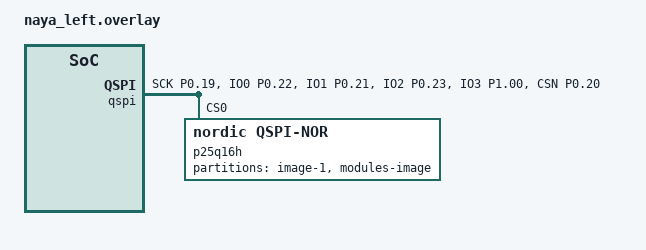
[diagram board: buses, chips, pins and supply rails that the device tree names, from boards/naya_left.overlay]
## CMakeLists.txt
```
cmake_minimum_required(VERSION 3.20.0)

find_package(Zephyr)
project(my_zephyr_app)

target_sources(app PRIVATE src/main.c)
zephyr_library_sources(src/spi_flash.c)
```

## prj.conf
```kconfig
CONFIG_GPIO=y
CONFIG_SERIAL=y
CONFIG_UART_CONSOLE=y

CONFIG_BOOTLOADER_MCUBOOT=y
# CONFIG_MCUBOOT_SIGNATURE_KEY_FILE="bootloader/mcuboot/mhn_pub.pem"
# CONFIG_MCUBOOT_ENCRYPTION_KEY_FILE="bootloader/mcuboot/enc-rsa2048-pub.pem"


CONFIG_BUILD_OUTPUT_UF2=y
# CONFIG_CLOCK_CONTROL_NRF_K32SRC_RC=y
# CONFIG_CLOCK_CONTROL_NRF_K32SRC_500PPM=y
# CONFIG_FLASH_LOAD_OFFSET=0x0
```

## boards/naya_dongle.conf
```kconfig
CONFIG_USB_DEVICE_PRODUCT="Dongle"
CONFIG_USB_DEVICE_MANUFACTURER="Naya"
CONFIG_USB_DEVICE_SN="0123456789ABCDEF"

#Registered for naya dongle
#       300 in decimal  
CONFIG_USB_DEVICE_PID=0x012c               
CONFIG_USB_DEVICE_VID=0x37d1 

CONFIG_NRFX_QSPI=n
```

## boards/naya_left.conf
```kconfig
CONFIG_USB_DEVICE_PRODUCT="Left Keyboard"
CONFIG_USB_DEVICE_MANUFACTURER="Naya"
CONFIG_USB_DEVICE_SN="0123456789ABCDEF"

#Registered for naya left keyboard product
#       100 in decimal 
CONFIG_USB_DEVICE_PID=0x0064            
CONFIG_USB_DEVICE_VID=0x37d1
```

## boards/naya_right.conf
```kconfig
CONFIG_USB_DEVICE_PRODUCT="Right Keyboard"
CONFIG_USB_DEVICE_MANUFACTURER="Naya"
CONFIG_USB_DEVICE_SN="0123456789ABCDEF"

#Registered for naya right keyboard product
#       200 in decimal 
CONFIG_USB_DEVICE_PID=0x00c8            
CONFIG_USB_DEVICE_VID=0x37d1
```

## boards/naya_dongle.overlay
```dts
&flash0 {
	/*
	 *  flash layout for naya 
	 *
	 * 0x00000000 SoftDevice s140 v7    (192 kB)
	 * 0x00030000 mcuboot partition     (80 kB)
 	 * 0x00044000 image-0 partition     (648 kB)
	 * 0x00044000 image-0 partition     (648 kB)
	 * 0x000e6000 scratch partition     (24 kB)
	 * 0x000ec000 Storage partition     (32 kB)
	 * 0x000f4000 DFU boot partition    (48 kB)
	 */

	partitions {
		compatible = "fixed-partitions";
		#address-cells = <1>;
		#size-cells = <1>;

		softdevice_partition: partition@0 {		
			label = "SoftDevice";
			// read-only;
			reg = <0x00000000 0x00030000>;
		};
		
		mcuboot_partition: partition@30000 {
			label = "mcuboot";
			reg = <0x00030000 0x00014000>;
		};
		
		slot0_partition: partition@44000 {
			label = "image-0";
			reg = <0x00044000 0x00051000>;
		};

		slot1_partition: partition@95000 {
			label = "image-1";
			reg = <0x00095000 0x00051000>;
		};
		
		scratch_partition: partition@e6000 {
			label = "image-scratch";
			reg = <0x000e6000 0x00006000>;
		};
		
        /*
         * Storage partition will be used by FCB/LittleFS/NVS
         * if enabled.
         */
		storage_partition: partition@ec000 {
            label = "storage";
            reg = <0x000ec000 0x00008000>;
        };

		dfu_partition: partition@f4000 {
			label = "USB-DFU";
			read-only;
			reg = <0x000f4000 0x0000c000>;
		};
	};
};



/ {
	chosen {
		zephyr,code-partition = &slot0_partition;
	};
};
```

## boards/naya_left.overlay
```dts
&qspi {
	status = "okay";
	pinctrl-0 = <&qspi_default>;
	pinctrl-1 = <&qspi_sleep>;
	pinctrl-names = "default", "sleep";
	p25q16h: p25q16h@0 {
		compatible = "nordic,qspi-nor";
		reg = <0>;
		sck-frequency = <40000000>;       /* Retained sck-frequency */
        size = <0x2000000>;                /* Corrected size to 4MB */
		quad-enable-requirements = "S2B1v1";
		jedec-id = [ef 40 16];
		writeoc = "pp4o";
        readoc = "read4io";

		partitions {
			compatible = "fixed-partitions";
			#address-cells = <1>;
			#size-cells = <1>;


			slot1_partition: partition@0 {
				label = "image-1";
				reg = <0x00000000 0x000a2000>;	 /* 648K Partition for secondary partition*/
			};

			mfw_partition: partition@a2000 {
				label = "modules-image";
				reg = <0x000a2000 0x00100000>;  /* 1MB Partition for modules firmware */
			};

		};
	};
};



&pinctrl {
	qspi_default: qspi_default {
		group1 {
		 psels = <NRF_PSEL(QSPI_SCK, 0, 19)>,
		  <NRF_PSEL(QSPI_IO0, 0, 22)>,
		  <NRF_PSEL(QSPI_IO1, 0, 21)>,
		  <NRF_PSEL(QSPI_IO2, 0, 23)>,
		  <NRF_PSEL(QSPI_IO3, 1, 00 )>,
		  <NRF_PSEL(QSPI_CSN, 0, 20)>;
		};
	   };
	  
	   qspi_sleep: qspi_sleep {
		group1 {
		 psels = <NRF_PSEL(QSPI_SCK, 0, 19)>,
		  <NRF_PSEL(QSPI_IO0, 0, 22)>,
		  <NRF_PSEL(QSPI_IO1, 0, 21)>,
		  <NRF_PSEL(QSPI_IO2, 0, 23)>,
		  <NRF_PSEL(QSPI_IO3, 1, 00)>;
		 low-power-enable;
		};
		group2 {
		 psels = <NRF_PSEL(QSPI_CSN, 0, 20)>;
		 low-power-enable;
		 bias-pull-up;
		};
	   };	  
};



&flash0 {
	/*
	 *  flash layout for naya 
	 *
	 * 0x00000000 SoftDevice s140 v7    (192 kB)
	 * 0x00030000 mcuboot partition     (80 kB)
 	 * 0x00044000 image-0 partition     (648 kB)
	 * 0x000e6000 scratch partition     (24 kB)
	 * 0x000ec000 Storage partition     (32 kB)
	 * 0x000f4000 DFU boot partition    (48 kB)
	 */

	partitions {
		compatible = "fixed-partitions";
		#address-cells = <1>;
		#size-cells = <1>;

		softdevice_partition: partition@0 {		
			label = "SoftDevice";
			// read-only;
			reg = <0x00000000 0x00030000>;
		};
		
		mcuboot_partition: partition@30000 {
			label = "mcuboot";
			reg = <0x00030000 0x00014000>;
		};
		
		slot0_partition: partition@44000 {
			label = "image-0";
			reg = <0x00044000 0x000A2000>;
		};
		
		scratch_partition: partition@e6000 {
			label = "image-scratch";
			reg = <0x000e6000 0x00006000>;
		};
		
        /*
         * Storage partition will be used by FCB/LittleFS/NVS
         * if enabled.
         */
		storage_partition: partition@ec000 {
            label = "storage";
            reg = <0x000ec000 0x00008000>;
        };

		dfu_partition: partition@f4000 {
			label = "USB-DFU";
			read-only;
			reg = <0x000f4000 0x0000c000>;
		};
	};
};




/ {
	chosen {
		zephyr,code-partition = &slot0_partition;
	};
};
```

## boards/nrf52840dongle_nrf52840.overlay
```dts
/*
 * Copyright (c) 2020 Nordic Semiconductor ASA
 *
 * SPDX-License-Identifier: Apache-2.0
 */

 &flash0 {
	/*
	 *  flash layout for naya 
	 *
	 * 0x00000000 SoftDevice s140 v7    (156 kB)
	 * 0x00026000 mcuboot partition     (72 kB)
 	 * 0x00038000 image-0 partition     (348 kB)
 	 * 0x0008f000 image-1 partition     (348 kB)
	 * 0x000e6000 scratch partition     (24 kB)
	 * 0x000ec000 Storage partition     (32 kB)
	 * 0x000f4000 DFU boot partition    (48 kB)
	 */

	partitions {
		compatible = "fixed-partitions";
		#address-cells = <1>;
		#size-cells = <1>;

		reserved_partition_0: partition@0 {
			label = "SoftDevice";
			read-only;
			reg = <0x00000000 0x00026000>;
		};
		
		mcuboot_partition: partition@26000 {
			label = "mcuboot";
			reg = <0x00026000 0x00012000>;
		};
		

	};
};


/ {
	chosen {
		zephyr,code-partition = &mcuboot_partition;
	};
};


/{

	leds {
		compatible = "gpio-leds";
		led0: led_0 {
			gpios = <&gpio0 28 GPIO_ACTIVE_LOW>;
			label = "Red LED";
		};
		led1: led_1 {
			gpios = <&gpio0 03 GPIO_ACTIVE_LOW>;
			label = "Green LED";
		};
		led2: led_2 {
			gpios = <&gpio0 30 GPIO_ACTIVE_LOW>;
			label = "Blue LED";
		};
	};

};

&reg1 {
	regulator-initial-mode = <NRF5X_REG_MODE_LDO>;
	// status = "okay";
};

&reg0 {

	status = "disabled";
};

// &reg0 {
// 	regulator-initial-mode = <NRF5X_REG_MODE_LDO>;
// 	status = "okay";
// };


&uicr {
	gpio-as-nreset;
};
```

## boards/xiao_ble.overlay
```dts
/*
 * Copyright (c) 2020 Nordic Semiconductor ASA
 *
 * SPDX-License-Identifier: Apache-2.0
 */

 &flash0 {
	/*
	 *  flash layout for naya 
	 *
	 * 0x00000000 SoftDevice s140 v7    (156 kB)
	 * 0x00026000 mcuboot partition     (72 kB)
 	 * 0x00038000 image-0 partition     (348 kB)
 	 * 0x0008f000 image-1 partition     (348 kB)
	 * 0x000e6000 scratch partition     (24 kB)
	 * 0x000ec000 Storage partition     (32 kB)
	 * 0x000f4000 DFU boot partition    (48 kB)
	 */

	partitions {
		compatible = "fixed-partitions";
		#address-cells = <1>;
		#size-cells = <1>;

		reserved_partition_0: partition@0 {
			label = "SoftDevice";
			read-only;
			reg = <0x00000000 0x00026000>;
		};
		
		mcuboot_partition: partition@26000 {
			label = "mcuboot";
			reg = <0x00027000 0x00012000>;
		};
		
		slot0_partition: partition@38000 {
			label = "image-0";
			reg = <0x00038000 0x00057000>;
		};
		
		slot1_partition: partition@8f000 {
			label = "image-1";
			reg = <0x0008f000 0x00057000>;
		};

		scratch_partition: partition@e6000 {
			label = "image-scratch";
			reg = <0x000e6000 0x00006000>;
		};
		
        /*
         * Storage partition will be used by FCB/LittleFS/NVS
         * if enabled.
         */
		storage_partition: partition@ec000 {
            label = "storage";
            reg = <0x000ec000 0x00008000>;
        };

		boot_partition: partition@f4000 {
			label = "UF2";
			read-only;
			reg = <0x000f4000 0x0000c000>;
		};
	};
};


/ {
	chosen {
		zephyr,code-partition = &reserved_partition_0;
	};
};


/{

	leds {
		compatible = "gpio-leds";
		led0: led_0 {
			gpios = <&gpio0 28 GPIO_ACTIVE_LOW>;
			label = "Red LED";
		};
		led1: led_1 {
			gpios = <&gpio0 03 GPIO_ACTIVE_LOW>;
			label = "Green LED";
		};
		led2: led_2 {
			gpios = <&gpio0 30 GPIO_ACTIVE_LOW>;
			label = "Blue LED";
		};
	};

};

&reg0 {
	// regulator-initial-mode = <NRF5X_REG_MODE_DCDC>;
	status = "okay";
};


&reg1 {
	regulator-initial-mode = <NRF5X_REG_MODE_LDO>;
	status = "okay";
};


&uicr {
	nfct-pins-as-gpios;
	gpio-as-nreset;
	// regout0=<0x05>;
	status = "okay";
};



// &dcdc_regulator {
//     status = "okay";
//     regulator-name = "dcdc-hv";
//     regulator-always-on;
//     regulator-min-microvolt = <3300000>;
//     regulator-max-microvolt = <3300000>;
// };

// nrf_power: power@40000000 {
//     compatible = "nordic,nrf-power";
//     reg = <0x40000000 0x1000>;
// 	status = "okay";
//     dcdcen = <1>;
//     dcdcenhv = <1>;
// };

// &nrf_power {
//     status = "okay";
//     dcdcen = <1>;
//     dcdcenhv = <1>;
// };
```

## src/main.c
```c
/*
 * Copyright (c) 2016 Intel Corporation
 *
 * SPDX-License-Identifier: Apache-2.0
 */

#include <stdio.h>
#include <zephyr/kernel.h>
#include <zephyr/drivers/gpio.h>



/* 1000 msec = 1 sec */
#define SLEEP_TIME_MS   500

/* The devicetree node identifier for the "led0" alias. */
#define LED0_NODE DT_ALIAS(led0)
#define LED1_NODE DT_ALIAS(led1)
#define LED2_NODE DT_ALIAS(led2)

/*
 * A build error on this line means your board is unsupported.
 * See the sample documentation for information on how to fix this.
 */
static const struct gpio_dt_spec led = GPIO_DT_SPEC_GET(LED2_NODE, gpios);


void reset_to_uf2(void) {
  NRF_POWER->GPREGRET = 0x48; // 0xA8 OTA, 0x4e Serial
  NVIC_SystemReset();         // or sd_nvic_SystemReset();
}


int main(void)
{
	int ret;
	bool led_state = true;

	printf("Start of Program : LED Green Blinky \n");


	if (!gpio_is_ready_dt(&led))  return 0;


	ret = gpio_pin_configure_dt(&led, GPIO_OUTPUT_ACTIVE);
	if (ret < 0) return 0;


	printf("Initializaion complete\n");

	uint8_t counter=0;


	while (1) {
		ret = gpio_pin_toggle_dt(&led);
		if (ret < 0) return 0;
		
		led_state = !led_state;
		printf("LED state: %s\n", led_state ? "ON" : "OFF");
		k_msleep(SLEEP_TIME_MS);

		if( counter > 10) reset_to_uf2();
		else counter++;
	}
	return 0;
}
```

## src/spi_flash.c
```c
#include "spi_flash.h"
#include <zephyr/logging/log.h>
#include <zephyr/devicetree.h>
#include <zephyr/device.h>
// #include <zephyr/zephyr.h>
#include <zephyr/drivers/flash.h>
#include <zephyr/fs/fs.h>
#include <zephyr/fs/littlefs.h>
#include <zephyr/storage/flash_map.h>
#include <string.h>
#include <stdio.h>
// #include "../src/naya_connect/naya_con_init.h"
#include <zephyr/drivers/spi.h>
#include <zephyr/kernel.h>

LOG_MODULE_REGISTER(spi_flash, LOG_LEVEL_DEBUG);

// Define the flash area ID using the partition label
#define LAYOUT_PARTITION_ID FIXED_PARTITION_ID(layout_partition)
#define LOG_PARTITION_ID FIXED_PARTITION_ID(log_partition)

#define M_FIRMWARE_PARTITION_ID FIXED_PARTITION_ID(slot2_partition)

// Partition sizes
#define LAYOUT_PARTITION_SIZE (0x10000)       // 1MB
#define LOG_PARTITION_SIZE (0x10000)        // 0.5 MB

#define M_FIRMWARE_PARTITION_SIZE (1 * 1024 * 1024) // 1.5 MB
#define FLASH_PARTITION_SIZE                                                                       \
    (LAYOUT_PARTITION_SIZE + LOG_PARTITION_SIZE + RES_PARTITION_SIZE +                             \
     M_FIRMWARE_PARTITION_SIZE) // 4MB

#define BLOCK_SIZE 4096

#define LAYOUT_PARTITION_BLOCK_COUNT (LAYOUT_PARTITION_SIZE / BLOCK_SIZE)         // 256
#define LOG_PARTITION_BLOCK_COUNT (LOG_PARTITION_SIZE / BLOCK_SIZE)               // 128

#define M_FIRMWARE_PARTITION_BLOCK_COUNT (M_FIRMWARE_PARTITION_SIZE / BLOCK_SIZE) // 384

#define BLOCK_COUNT (FLASH_PARTITION_SIZE / BLOCK_SIZE) // 1024

// Global flash area pointers to maintain a single open flash area
const struct flash_area *fa_layout_partition;
const struct flash_area *fa_log_partition;

const struct flash_area *fa_m_firmware_partition;

// SPI flash status variables for each partition
enum spi_flash_status layout_partition_status = SPI_FLASH_NOT_DETECTED;
enum spi_flash_status log_partition_status = SPI_FLASH_NOT_DETECTED;

enum spi_flash_status m_firmware_partition_status = SPI_FLASH_NOT_DETECTED;

// Mutex for synchronizing SPI flash access
struct k_mutex spi_flash_mutex;

// Forward declarations of custom flash operations
int layout_flash_read(const struct lfs_config *c, lfs_block_t block, lfs_off_t offset, void *buffer,
                      lfs_size_t size);
int layout_flash_prog(const struct lfs_config *c, lfs_block_t block, lfs_off_t offset,
                      const void *buffer, lfs_size_t size);
int layout_flash_erase(const struct lfs_config *c, lfs_block_t block);
int custom_flash_sync(const struct lfs_config *c);

// Custom flash operations for log partition
int log_flash_read(const struct lfs_config *c, lfs_block_t block, lfs_off_t offset, void *buffer,
                   lfs_size_t size);
int log_flash_prog(const struct lfs_config *c, lfs_block_t block, lfs_off_t offset,
                   const void *buffer, lfs_size_t size);
int log_flash_erase(const struct lfs_config *c, lfs_block_t block);


// Custom flash operations for m_firmware partition
int m_firmware_flash_read(const struct lfs_config *c, lfs_block_t block, lfs_off_t offset,
                          void *buffer, lfs_size_t size);
int m_firmware_flash_prog(const struct lfs_config *c, lfs_block_t block, lfs_off_t offset,
                          const void *buffer, lfs_size_t size);
int m_firmware_flash_erase(const struct lfs_config *c, lfs_block_t block);

// Updated LittleFS configurations for each partition
const struct lfs_config layout_partition_cfg = {
    .read = layout_flash_read,
    .prog = layout_flash_prog,
    .erase = layout_flash_erase,
    .sync = custom_flash_sync,
    .read_size = 256,
    .prog_size = 256,
    .block_size = BLOCK_SIZE,
    .block_count = LAYOUT_PARTITION_BLOCK_COUNT,
    .cache_size = 256,
    .lookahead_size = 256,
    .block_cycles = 500,
};

const struct lfs_config log_partition_cfg = {
    .read = log_flash_read,
    .prog = log_flash_prog,
    .erase = log_flash_erase,
    .sync = custom_flash_sync,
    .read_size = 256,
    .prog_size = 256,
    .block_size = BLOCK_SIZE,
    .block_count = LOG_PARTITION_BLOCK_COUNT,
    .cache_size = 256,
    .lookahead_size = 256,
    .block_cycles = 500,
};



const struct lfs_config m_firmware_partition_cfg = {
    .read = m_firmware_flash_read,
    .prog = m_firmware_flash_prog,
    .erase = m_firmware_flash_erase,
    .sync = custom_flash_sync,
    .read_size = 256,
    .prog_size = 256,
    .block_size = BLOCK_SIZE,
    .block_count = M_FIRMWARE_PARTITION_BLOCK_COUNT,
    .cache_size = 256,
    .lookahead_size = 256,
    .block_cycles = 500,
};

// Declare lfs_t objects to hold the LittleFS state
struct lfs layout_littlefs;
struct lfs log_littlefs;

struct lfs m_firmware_littlefs;

// Adjust the mount point configuration to use your custom lfs_config
static struct fs_mount_t layout_mount_point = {
    .type = FS_LITTLEFS,
    .mnt_point = "/lyt",
    .fs_data = (void *)&layout_partition_cfg,
    .storage_dev = NULL,
};

static struct fs_mount_t log_mount_point = {
    .type = FS_LITTLEFS,
    .mnt_point = "/log",
    .fs_data = (void *)&log_partition_cfg,
    .storage_dev = NULL,
};


static struct fs_mount_t m_firmware_mount_point = {
    .type = FS_LITTLEFS,
    .mnt_point = "/mfmw",
    .fs_data = (void *)&m_firmware_partition_cfg,
    .storage_dev = NULL,
};

/**
 * @brief Reads data from the layout partition flash.
 *
 * This function reads data from the specified block and offset within the layout partition.
 *
 * @param c      The lfs_config structure.
 * @param block  The block number to read from.
 * @param offset The offset within the block.
 * @param buffer The buffer to store the read data.
 * @param size   The number of bytes to read.
 *
 * @return 0 on success, or a negative error code on failure.
 */
int layout_flash_read(const struct lfs_config *c, lfs_block_t block, lfs_off_t offset, void *buffer,
                      lfs_size_t size) {
    int rc;

    // Lock the mutex to prevent concurrent access
    k_mutex_lock(&spi_flash_mutex, K_FOREVER);

    rc = flash_area_read(fa_layout_partition, (block * c->block_size) + offset, buffer, size);

    // Unlock the mutex
    k_mutex_unlock(&spi_flash_mutex);

    if (rc < 0) {
        LOG_ERR("Failed to read block %d at offset %d: %d", block, offset, rc);
        printf( "Failed to read block %d at offset %d: %d\n\r", block, offset, rc);
    }

    return rc;
}

/**
 * @brief Programs data to the layout partition flash.
 *
 * This function writes data to the specified block and offset within the layout partition.
 *
 * @param c      The lfs_config structure.
 * @param block  The block number to write to.
 * @param offset The offset within the block.
 * @param buffer The data buffer to write.
 * @param size   The number of bytes to write.
 *
 * @return 0 on success, or a negative error code on failure.
 */
int layout_flash_prog(const struct lfs_config *c, lfs_block_t block, lfs_off_t offset,
                      const void *buffer, lfs_size_t size) {
    int rc;

    // Lock the mutex to prevent concurrent access
    k_mutex_lock(&spi_flash_mutex, K_FOREVER);

    rc = flash_area_write(fa_layout_partition, (block * c->block_size) + offset, buffer, size);

    // Unlock the mutex
    k_mutex_unlock(&spi_flash_mutex);

    if (rc < 0) {
        LOG_ERR("Failed to program block %d at offset %d: %d", block, offset, rc);
        printf("Failed to program block %d at offset %d: %d\n\r", block, offset, rc);
    }

    return rc;
}

/**
 * @brief Erases a block in the layout partition flash.
 *
 * @param c     The lfs_config structure.
 * @param block The block number to erase.
 *
 * @return 0 on success, or a negative error code on failure.
 */
int layout_flash_erase(const struct lfs_config *c, lfs_block_t block) {
    int rc;
    uint32_t offset = block * c->block_size;
    uint32_t size = c->block_size;

    // Lock the mutex to prevent concurrent access
    k_mutex_lock(&spi_flash_mutex, K_FOREVER);

    rc = flash_area_erase(fa_layout_partition, offset, size);

    // Unlock the mutex
    k_mutex_unlock(&spi_flash_mutex);

    if (rc < 0) {
        LOG_ERR("Failed to erase block %d: %d", block, rc);
        printf( "Failed to erase block %d: %d\n\r", block,rc);
    }

    return rc;
}

/**
 * @brief Synchronizes the flash (no operation needed for most flash devices).
 *
 * @param c The lfs_config structure.
 *
 * @return 0 on success.
 */
int custom_flash_sync(const struct lfs_config *c) {
    // No sync operation needed for most flash devices
    return 0;
}

// Implementations for log partition flash operations
int log_flash_read(const struct lfs_config *c, lfs_block_t block, lfs_off_t offset, void *buffer,
                   lfs_size_t size) {
    int rc;

    k_mutex_lock(&spi_flash_mutex, K_FOREVER);
    rc = flash_area_read(fa_log_partition, (block * c->block_size) + offset, buffer, size);
    k_mutex_unlock(&spi_flash_mutex);

    if (rc < 0) {
        LOG_ERR("Log: Failed to read block %d at offset %d: %d", block, offset, rc);
    }

    return rc;
}

int log_flash_prog(const struct lfs_config *c, lfs_block_t block, lfs_off_t offset,
                   const void *buffer, lfs_size_t size) {
    int rc;

    k_mutex_lock(&spi_flash_mutex, K_FOREVER);
    rc = flash_area_write(fa_log_partition, (block * c->block_size) + offset, buffer, size);
    k_mutex_unlock(&spi_flash_mutex);

    if (rc < 0) {
        LOG_ERR("Log: Failed to program block %d at offset %d: %d", block, offset, rc);
    }

    return rc;
}

int log_flash_erase(const struct lfs_config *c, lfs_block_t block) {
    int rc;
    uint32_t offset = block * c->block_size;
    uint32_t size = c->block_size;

    k_mutex_lock(&spi_flash_mutex, K_FOREVER);
    rc = flash_area_erase(fa_log_partition, offset, size);
    k_mutex_unlock(&spi_flash_mutex);

    if (rc < 0) {
        LOG_ERR("Log: Failed to erase block %d: %d", block, rc);
    }

    return rc;
}




// Implementations for m_firmware partition flash operations
int m_firmware_flash_read(const struct lfs_config *c, lfs_block_t block, lfs_off_t offset,
                          void *buffer, lfs_size_t size) {
    int rc;

    k_mutex_lock(&spi_flash_mutex, K_FOREVER);
    rc = flash_area_read(fa_m_firmware_partition, (block * c->block_size) + offset, buffer, size);
    k_mutex_unlock(&spi_flash_mutex);

    if (rc < 0) {
        LOG_ERR("M_Firmware: Failed to read block %d at offset %d: %d", block, offset, rc);
    }

    return rc;
}

int m_firmware_flash_prog(const struct lfs_config *c, lfs_block_t block, lfs_off_t offset,
                          const void *buffer, lfs_size_t size) {
    int rc;

    k_mutex_lock(&spi_flash_mutex, K_FOREVER);
    rc = flash_area_write(fa_m_firmware_partition, (block * c->block_size) + offset, buffer, size);
    k_mutex_unlock(&spi_flash_mutex);

    if (rc < 0) {
        LOG_ERR("M_Firmware: Failed to program block %d at offset %d: %d", block, offset, rc);
    }

    return rc;
}

int m_firmware_flash_erase(const struct lfs_config *c, lfs_block_t block) {
    int rc;
    uint32_t offset = block * c->block_size;
    uint32_t size = c->block_size;

    k_mutex_lock(&spi_flash_mutex, K_FOREVER);
    rc = flash_area_erase(fa_m_firmware_partition, offset, size);
    k_mutex_unlock(&spi_flash_mutex);

    if (rc < 0) {
        LOG_ERR("M_Firmware: Failed to erase block %d: %d", block, rc);
    }

    return rc;
}

/**
 * @brief Initializes the SPI flash and mounts partitions.
 *
 * This function initializes the SPI flash, opens flash areas for each partition,
 * and mounts the partitions. It also handles formatting if partitions are not formatted.
 *
 * @return 0 on success, or a negative error code on failure.
 */
int spiflash_init(void) {
    int rc;

    // Initialize the SPI flash mutex
    k_mutex_init(&spi_flash_mutex);

    LOG_INF("Initializing SPI Flash...");
    printf( "Initializing SPI Flash...\n\r");

    // Open flash areas for each partition
    rc = flash_area_open(LAYOUT_PARTITION_ID, &fa_layout_partition);
    if (rc < 0) {
        LOG_ERR("Failed to open flash area for layout partition: %d", rc);
        printf("Failed to open flash area for layout partition: %d\n\r", rc);
        return rc;
    }
    layout_partition_status = SPI_FLASH_DETECTED;

    rc = flash_area_open(LOG_PARTITION_ID, &fa_log_partition);
    if (rc < 0) {
        LOG_ERR("Failed to open flash area for log partition: %d", rc);
        printf("Failed to open flash area for log partition: %d\n\r", rc);
        return rc;
    }
    log_partition_status = SPI_FLASH_DETECTED;


    rc = flash_area_open(M_FIRMWARE_PARTITION_ID, &fa_m_firmware_partition);
    if (rc < 0) {
        LOG_ERR("Failed to open flash area for m_firmware partition: %d", rc);
        printf("Failed to open flash area for m_firmware partition: %d\n\r", rc);
        return rc;
    }
    m_firmware_partition_status = SPI_FLASH_DETECTED;

    // Mount the layout partition
    LOG_INF("Attempting to mount Layout_partition...");
    printf( "Attempting to mount Layout_partition...\n\r");
    rc = lfs_mount(&layout_littlefs, &layout_partition_cfg);
    if (rc == 0) {
        LOG_INF("Layout_partition mounted at %s", layout_mount_point.mnt_point);
        printf("Layout_partition mounted at %s\n\r",
                                       layout_mount_point.mnt_point);
        layout_partition_status = SPI_FLASH_MOUNTED;
    } else if (rc == LFS_ERR_CORRUPT) { // LittleFS-specific error code for unformatted partition
        LOG_INF("Formatting Layout_partition...");
        printf( "Formatting Layout_partition...\n\r");

        rc = lfs_format(&layout_littlefs, &layout_partition_cfg);
        if (rc == 0) {
            LOG_INF("Layout_partition formatted successfully, retrying mount...");
            printf(
                                 "Layout_partition formatted successfully, retrying mount...\n\r");
            layout_partition_status = SPI_FLASH_FORMATTED;

            rc = lfs_mount(&layout_littlefs, &layout_partition_cfg);
            if (rc == 0) {
                LOG_INF("Layout_partition mounted successfully after format");
                printf("Layout_partition mounted successfully after format\n\r");
                layout_partition_status = SPI_FLASH_MOUNTED;
            } else {
                LOG_ERR("Failed to mount Layout_partition after format: %d", rc);
                printf("Failed to mount Layout_partition after format: %d\n\r", rc);
            }
        } else {
            LOG_ERR("Failed to format Layout_partition: %d", rc);
            printf("Failed to format Layout_partition: %d\n\r", rc);
        }
    } else {
        LOG_ERR("Failed to mount Layout_partition: %d", rc);
        printf("Failed to mount Layout_partition: %d\n\r",
                                       rc);
    }

    // Similar code for mounting other partitions (log, res, m_firmware)
    // Mount the log partition
    LOG_INF("Attempting to mount Log_partition...");
    printf( "Attempting to mount Log_partition...\n\r");
    rc = lfs_mount(&log_littlefs, &log_partition_cfg);
    if (rc == 0) {
        LOG_INF("Log_partition mounted at %s", log_mount_point.mnt_point);
        printf("Log_partition mounted at %s\n\r",
                                       log_mount_point.mnt_point);
        log_partition_status = SPI_FLASH_MOUNTED;
    } else if (rc == LFS_ERR_CORRUPT) {
        LOG_INF("Formatting Log_partition...");
        printf( "Formatting Log_partition...\n\r");

        rc = lfs_format(&log_littlefs, &log_partition_cfg);
        if (rc == 0) {
            LOG_INF("Log_partition formatted successfully, retrying mount...");
            printf(
                                 "Log_partition formatted successfully, retrying mount...\n\r");
            log_partition_status = SPI_FLASH_FORMATTED;

            rc = lfs_mount(&log_littlefs, &log_partition_cfg);
            if (rc == 0) {
                LOG_INF("Log_partition mounted successfully after format");
                printf("Log_partition mounted successfully after format\n\r");
                log_partition_status = SPI_FLASH_MOUNTED;
            } else {
                LOG_ERR("Failed to mount Log_partition after format: %d", rc);
                printf("Failed to mount Log_partition after format: %d\n\r", rc);
            }
        } else {
            LOG_ERR("Failed to format Log_partition: %d", rc);
            printf( "Failed to format Log_partition: %d\n\r",
                                           rc);
        }
    } else {
        LOG_ERR("Failed to mount Log_partition: %d", rc);
        printf("Failed to mount Log_partition: %d\n\r", rc);
    }

   
    // Mount the m_firmware partition
    LOG_INF("Attempting to mount M_Firmware_partition...");
    printf( "Attempting to mount M_Firmware_partition...\n\r");
    rc = lfs_mount(&m_firmware_littlefs, &m_firmware_partition_cfg);
    if (rc == 0) {
        LOG_INF("M_Firmware_partition mounted at %s", m_firmware_mount_point.mnt_point);
        printf("M_Firmware_partition mounted at %s\n\r",
                                       m_firmware_mount_point.mnt_point);
        m_firmware_partition_status = SPI_FLASH_MOUNTED;
    } else if (rc == LFS_ERR_CORRUPT) {
        LOG_INF("Formatting M_Firmware_partition...");
        printf( "Formatting M_Firmware_partition...\n\r");

        rc = lfs_format(&m_firmware_littlefs, &m_firmware_partition_cfg);
        if (rc == 0) {
            LOG_INF("M_Firmware_partition formatted successfully, retrying mount...");
            printf("M_Firmware_partition formatted successfully, retrying mount...\n\r");
            m_firmware_partition_status = SPI_FLASH_FORMATTED;

            rc = lfs_mount(&m_firmware_littlefs, &m_firmware_partition_cfg);
            if (rc == 0) {
                LOG_INF("M_Firmware_partition mounted successfully after format");
                printf( "M_Firmware_partition mounted successfully after format\n\r");
                m_firmware_partition_status = SPI_FLASH_MOUNTED;
            } else {
                LOG_ERR("Failed to mount M_Firmware_partition after format: %d", rc);
                printf("Failed to mount M_Firmware_partition after format: %d\n\r",
                    rc);
            }
        } else {
            LOG_ERR("Failed to format M_Firmware_partition: %d", rc);
            printf("Failed to format M_Firmware_partition: %d\n\r", rc);
        }
    } else {
        LOG_ERR("Failed to mount M_Firmware_partition: %d", rc);
        printf("Failed to mount M_Firmware_partition: %d\n\r", rc);
    }

    return rc;
}
```

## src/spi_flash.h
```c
#pragma once

#include <zephyr/device.h>
#include <zephyr/drivers/flash.h>
#include <zephyr/storage/flash_map.h>
#include <lfs.h>
#include <zephyr/fs/fs.h>

// SPI flash status enums
enum spi_flash_status {
    SPI_FLASH_NOT_DETECTED,
    SPI_FLASH_DETECTED,
    SPI_FLASH_FORMATTED,
    SPI_FLASH_MOUNTED,
    SPI_FLASH_ERASED,
};

// Extern declarations for lfs_t objects for each partition
extern struct lfs layout_littlefs;
extern struct lfs log_littlefs;
extern struct lfs res_littlefs;
extern struct lfs m_firmware_littlefs;

// Extern declarations for spi_flash_status variables for each partition
extern enum spi_flash_status layout_partition_status;
extern enum spi_flash_status log_partition_status;
extern enum spi_flash_status res_partition_status;
extern enum spi_flash_status m_firmware_partition_status;

/**
 * @brief Initializes the SPI flash and mounts partitions.
 *
 * @return 0 on success, or a negative error code on failure.
 */
int spiflash_init(void);

/**
 * @brief Reads data from the SPI flash at a specific address.
 *
 * @param address The address to read from.
 * @param data    The buffer to store the read data.
 * @param len     The number of bytes to read.
 *
 * @return 0 on success, or a negative error code on failure.
 */
int spi_flash_read(uint32_t address, void *data, size_t len);

/**
 * @brief Writes data to the SPI flash at a specific address.
 *
 * @param address The address to write to.
 * @param data    The data to write.
 * @param len     The number of bytes to write.
 *
 * @return 0 on success, or a negative error code on failure.
 */
int spi_flash_write(uint32_t address, const void *data, size_t len);

/**
 * @brief Erases a section of the SPI flash.
 *
 * @param address The starting address to erase.
 * @param size    The size of the area to erase.
 *
 * @return 0 on success, or a negative error code on failure.
 */
int spi_flash_erase(uint32_t address, size_t size);

/**
 * @brief Sends a buffer over CDC UART.
 *
 * @param label  A label to prefix the buffer output.
 * @param buffer The buffer to send.
 * @param len    The length of the buffer.
 */
void send_buffer_cdc_uart(const char *label, const uint8_t *buffer, size_t len);

/* Declare the external mount configuration */
extern struct fs_mount_t lfs_qspi_mount;

/* Additional function declarations if needed */
// int create_and_write_files(void);

/*

#include "spi_flash.h"

void some_function(void) {
    if (layout_partition_status == SPI_FLASH_MOUNTED) {
        // Perform file operations using layout_littlefs
        lfs_file_t file;
        int rc = lfs_file_open(&layout_littlefs, &file, "myfile.txt", LFS_O_RDWR | LFS_O_CREAT);
        if (rc == 0) {
            // Write to the file
            const char *message = "Hello, World!";
            lfs_file_write(&layout_littlefs, &file, message, strlen(message));
            lfs_file_close(&layout_littlefs, &file);
        } else {
            // Handle error
            LOG_ERR("Failed to open file: %d", rc);
        }
    } else {
        // Handle unmounted partition
        LOG_ERR("Layout partition is not mounted.");
    }
}

*/
```
